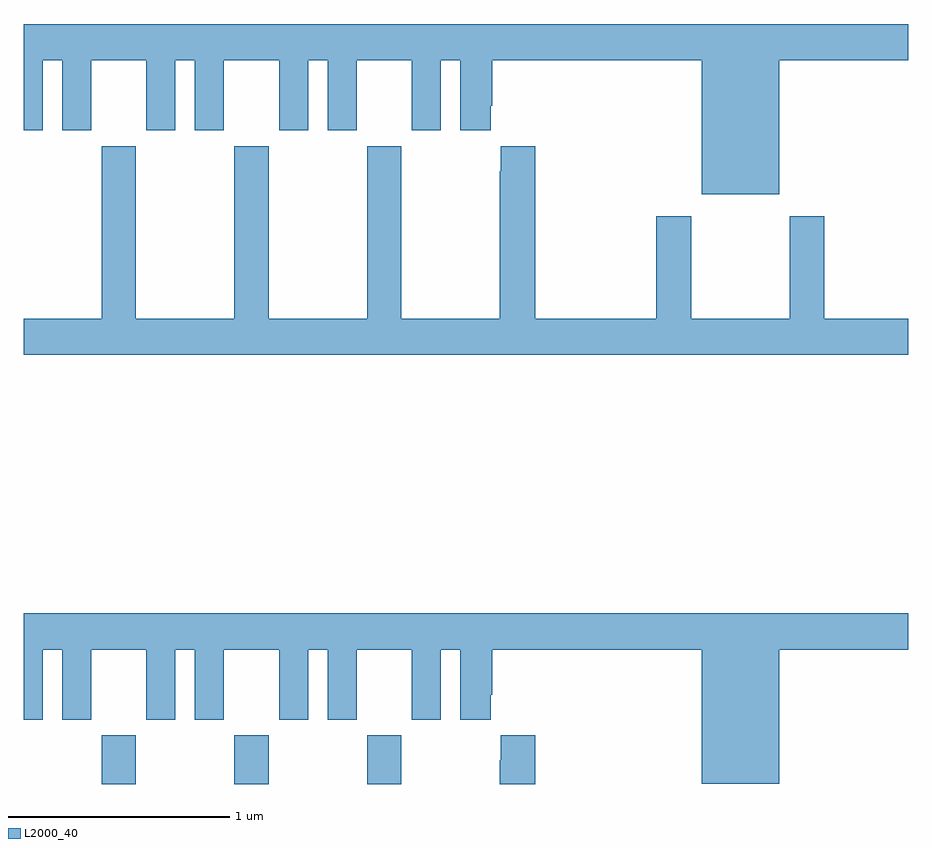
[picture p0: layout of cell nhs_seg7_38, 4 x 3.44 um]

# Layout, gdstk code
import gdstk
lib = gdstk.Library(unit=1e-6, precision=1e-09)
def R(c, l, rs):  # rectangles x0, y0, x1, y1
    for r in rs: c.add(gdstk.rectangle(r[:2], r[2:], *l))
def A(c, l, x, y, w, h, nx, ny, dx, dy):  # array of equal rectangles
    R(c, l, [(x+i*dx, y+j*dy, x+i*dx+w, y+j*dy+h) for i in range(nx) for j in range(ny)])
def P(c, l, *ps):  # polygons
    for p in ps: c.add(gdstk.Polygon(p, *l))
L2000_40 = (2000, 40)

nhs_seg7_38 = lib.new_cell('nhs_seg7_38')
A(nhs_seg7_38, L2000_40, 113.353, 1008, 0.155, 0.22, 3, 1, 0.6, 0)
P(nhs_seg7_38, L2000_40, [(116.416,1011.272),(117,1011.272),(117,1011.436),(113,1011.436),(113,1010.955),(113.086,1010.955),(113.086,1011.272),(113.174,1011.272),(113.174,1010.955),(113.305,1010.955),(113.305,1011.272),(113.555,1011.272),(113.555,1010.955),(113.686,1010.955),(113.686,1011.272),(113.774,1011.272),(113.774,1010.955),(113.905,1010.955),(113.905,1011.272),(114.155,1011.272),(114.155,1010.955),(114.286,1010.955),(114.286,1011.272),(114.374,1011.272),(114.374,1010.955),(114.505,1010.955),(114.505,1011.272),(114.755,1011.272),(114.755,1010.955),(114.886,1010.955),(114.886,1011.272),(114.974,1011.272),(114.974,1010.955),(115.111,1010.955),(115.111,1011.067),(115.118,1011.067),(115.118,1011.272),(116.066,1011.272),(116.066,1010.666),(116.416,1010.666)],
  [(117,1010.104),(116.619,1010.104),(116.619,1010.566),(116.464,1010.566),(116.464,1010.104),(116.019,1010.104),(116.019,1010.566),(115.859,1010.566),(115.859,1010.104),(115.313,1010.104),(115.313,1010.884),(115.157,1010.884),(115.157,1010.771),(115.153,1010.771),(115.153,1010.104),(114.708,1010.104),(114.708,1010.884),(114.553,1010.884),(114.553,1010.104),(114.108,1010.104),(114.108,1010.884),(113.953,1010.884),(113.953,1010.104),(113.508,1010.104),(113.508,1010.884),(113.353,1010.884),(113.353,1010.104),(113,1010.104),(113,1009.94),(117,1009.94)],
  [(116.416,1008.608),(117,1008.608),(117,1008.772),(113,1008.772),(113,1008.291),(113.086,1008.291),(113.086,1008.608),(113.174,1008.608),(113.174,1008.291),(113.305,1008.291),(113.305,1008.608),(113.555,1008.608),(113.555,1008.291),(113.686,1008.291),(113.686,1008.608),(113.774,1008.608),(113.774,1008.291),(113.905,1008.291),(113.905,1008.608),(114.155,1008.608),(114.155,1008.291),(114.286,1008.291),(114.286,1008.608),(114.374,1008.608),(114.374,1008.291),(114.505,1008.291),(114.505,1008.608),(114.755,1008.608),(114.755,1008.291),(114.886,1008.291),(114.886,1008.608),(114.974,1008.608),(114.974,1008.291),(115.111,1008.291),(115.111,1008.403),(115.118,1008.403),(115.118,1008.608),(116.066,1008.608),(116.066,1008.002),(116.416,1008.002)],
  [(115.313,1008.22),(115.157,1008.22),(115.157,1008.107),(115.153,1008.107),(115.153,1008),(115.313,1008)])

lib.write_gds('nhs_seg7_38.gds')
